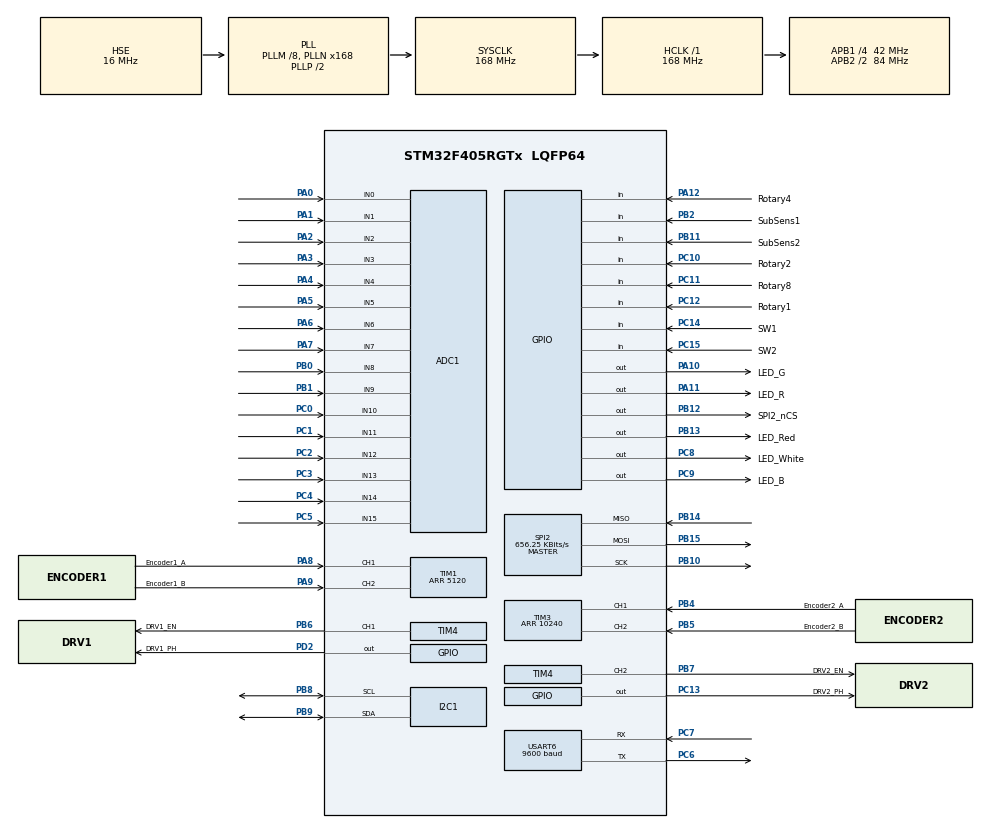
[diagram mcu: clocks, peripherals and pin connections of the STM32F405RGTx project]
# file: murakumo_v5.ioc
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ADC1.Channel-0\#ChannelRegularConversion=ADC_CHANNEL_9
ADC1.Channel-1\#ChannelRegularConversion=ADC_CHANNEL_10
ADC1.Channel-10\#ChannelRegularConversion=ADC_CHANNEL_6
ADC1.Channel-11\#ChannelRegularConversion=ADC_CHANNEL_1
ADC1.Channel-12\#ChannelRegularConversion=ADC_CHANNEL_5
ADC1.Channel-13\#ChannelRegularConversion=ADC_CHANNEL_2
ADC1.Channel-14\#ChannelRegularConversion=ADC_CHANNEL_4
ADC1.Channel-15\#ChannelRegularConversion=ADC_CHANNEL_3
ADC1.Channel-2\#ChannelRegularConversion=ADC_CHANNEL_8
ADC1.Channel-3\#ChannelRegularConversion=ADC_CHANNEL_11
ADC1.Channel-4\#ChannelRegularConversion=ADC_CHANNEL_15
ADC1.Channel-5\#ChannelRegularConversion=ADC_CHANNEL_12
ADC1.Channel-6\#ChannelRegularConversion=ADC_CHANNEL_14
ADC1.Channel-7\#ChannelRegularConversion=ADC_CHANNEL_13
ADC1.Channel-8\#ChannelRegularConversion=ADC_CHANNEL_7
ADC1.Channel-9\#ChannelRegularConversion=ADC_CHANNEL_0
ADC1.ContinuousConvMode=ENABLE
ADC1.DMAContinuousRequests=ENABLE
ADC1.InjNumberOfConversion=0
ADC1.NbrOfConversion=16
ADC1.NbrOfConversionFlag=1
ADC1.Rank-0\#ChannelRegularConversion=1
ADC1.Rank-1\#ChannelRegularConversion=2
ADC1.Rank-10\#ChannelRegularConversion=11
ADC1.Rank-11\#ChannelRegularConversion=12
ADC1.Rank-12\#ChannelRegularConversion=13
ADC1.Rank-13\#ChannelRegularConversion=14
ADC1.Rank-14\#ChannelRegularConversion=15
ADC1.Rank-15\#ChannelRegularConversion=16
ADC1.Rank-2\#ChannelRegularConversion=3
ADC1.Rank-3\#ChannelRegularConversion=4
ADC1.Rank-4\#ChannelRegularConversion=5
ADC1.Rank-5\#ChannelRegularConversion=6
ADC1.Rank-6\#ChannelRegularConversion=7
ADC1.Rank-7\#ChannelRegularConversion=8
ADC1.Rank-8\#ChannelRegularConversion=9
ADC1.Rank-9\#ChannelRegularConversion=10
ADC1.SamplingTime-0\#ChannelRegularConversion=ADC_SAMPLETIME_56CYCLES
ADC1.SamplingTime-1\#ChannelRegularConversion=ADC_SAMPLETIME_56CYCLES
ADC1.SamplingTime-10\#ChannelRegularConversion=ADC_SAMPLETIME_56CYCLES
ADC1.SamplingTime-11\#ChannelRegularConversion=ADC_SAMPLETIME_56CYCLES
ADC1.SamplingTime-12\#ChannelRegularConversion=ADC_SAMPLETIME_56CYCLES
ADC1.SamplingTime-13\#ChannelRegularConversion=ADC_SAMPLETIME_56CYCLES
ADC1.SamplingTime-14\#ChannelRegularConversion=ADC_SAMPLETIME_56CYCLES
ADC1.SamplingTime-15\#ChannelRegularConversion=ADC_SAMPLETIME_56CYCLES
ADC1.SamplingTime-2\#ChannelRegularConversion=ADC_SAMPLETIME_56CYCLES
ADC1.SamplingTime-3\#ChannelRegularConversion=ADC_SAMPLETIME_56CYCLES
ADC1.SamplingTime-4\#ChannelRegularConversion=ADC_SAMPLETIME_56CYCLES
ADC1.SamplingTime-5\#ChannelRegularConversion=ADC_SAMPLETIME_56CYCLES
ADC1.SamplingTime-6\#ChannelRegularConversion=ADC_SAMPLETIME_56CYCLES
ADC1.SamplingTime-7\#ChannelRegularConversion=ADC_SAMPLETIME_56CYCLES
ADC1.SamplingTime-8\#ChannelRegularConversion=ADC_SAMPLETIME_56CYCLES
ADC1.SamplingTime-9\#ChannelRegularConversion=ADC_SAMPLETIME_56CYCLES
ADC1.ScanConvMode=ENABLE
ADC1.master=1
Dma.ADC1.0.Direction=DMA_PERIPH_TO_MEMORY
Dma.ADC1.0.FIFOMode=DMA_FIFOMODE_DISABLE
Dma.ADC1.0.Instance=DMA2_Stream0
Dma.ADC1.0.MemDataAlignment=DMA_MDATAALIGN_HALFWORD
Dma.ADC1.0.MemInc=DMA_MINC_ENABLE
Dma.ADC1.0.Mode=DMA_CIRCULAR
Dma.ADC1.0.PeriphDataAlignment=DMA_PDATAALIGN_HALFWORD
Dma.ADC1.0.PeriphInc=DMA_PINC_DISABLE
Dma.ADC1.0.Priority=DMA_PRIORITY_LOW
Dma.Request0=ADC1
I2C1.NoStretchMode=I2C_NOSTRETCH_ENABLE
Mcu.Family=STM32F4
Mcu.Name=STM32F405RGTx
Mcu.Package=LQFP64
NVIC.DMA2_Stream0_IRQn=true\:0\:0\:true\:false\:true\:false\:true\:true
NVIC.PriorityGroup=NVIC_PRIORITYGROUP_4
NVIC.TIM1_TRG_COM_TIM11_IRQn=true\:1\:0\:true\:false\:true\:true\:true\:true
NVIC.TIM1_UP_TIM10_IRQn=true\:1\:0\:true\:false\:true\:true\:true\:true
NVIC.TIM3_IRQn=true\:1\:0\:true\:false\:true\:true\:true\:true
NVIC.TIM4_IRQn=true\:1\:0\:true\:false\:true\:true\:true\:true
NVIC.TIM6_DAC_IRQn=true\:1\:0\:true\:false\:true\:true\:true\:true
NVIC.TIM7_IRQn=true\:1\:0\:true\:false\:true\:true\:true\:true
PA0-WKUP.Signal=ADCx_IN0
PA1.Signal=ADCx_IN1
PA10.GPIO_Label=LED_G
PA10.Signal=GPIO_Output
PA11.GPIO_Label=LED_R
PA11.Signal=GPIO_Output
PA12.GPIO_Label=Rotary4
PA12.Signal=GPIO_Input
PA13.Mode=Trace_Asynchronous_SW
PA13.Signal=SYS_JTMS-SWDIO
PA14.Mode=Trace_Asynchronous_SW
PA14.Signal=SYS_JTCK-SWCLK
PA15.Signal=S_TIM2_CH1_ETR
PA2.Signal=ADCx_IN2
PA3.Signal=ADCx_IN3
PA4.Signal=ADCx_IN4
PA5.Signal=ADCx_IN5
PA6.Signal=ADCx_IN6
PA7.Signal=ADCx_IN7
PA8.GPIO_Label=Encoder1_A
PA8.Signal=S_TIM1_CH1
PA9.GPIO_Label=Encoder1_B
PA9.Signal=S_TIM1_CH2
PB0.Signal=ADCx_IN8
PB1.Signal=ADCx_IN9
PB10.Mode=Full_Duplex_Master
PB10.Signal=SPI2_SCK
PB11.GPIO_Label=SubSens2
PB11.Signal=GPIO_Input
PB12.GPIO_Label=SPI2_nCS
PB12.Signal=GPIO_Output
PB13.GPIO_Label=LED_Red
PB13.Signal=GPIO_Output
PB14.Mode=Full_Duplex_Master
PB14.Signal=SPI2_MISO
PB15.Mode=Full_Duplex_Master
PB15.Signal=SPI2_MOSI
PB2.GPIO_Label=SubSens1
PB2.Signal=GPIO_Input
PB3.Mode=Trace_Asynchronous_SW
PB3.Signal=SYS_JTDO-SWO
PB4.GPIO_Label=Encoder2_A
PB4.Signal=S_TIM3_CH1
PB5.GPIO_Label=Encoder2_B
PB5.Signal=S_TIM3_CH2
PB6.GPIO_Label=DRV1_EN
PB6.Signal=S_TIM4_CH1
PB7.GPIO_Label=DRV2_EN
PB7.Signal=S_TIM4_CH2
PB8.GPIO_Pu=GPIO_PULLUP
PB8.Mode=I2C
PB8.Signal=I2C1_SCL
PB9.GPIO_Pu=GPIO_PULLUP
PB9.Mode=I2C
PB9.Signal=I2C1_SDA
PC0.Signal=ADCx_IN10
PC1.Signal=ADCx_IN11
PC10.GPIO_Label=Rotary2
PC10.Signal=GPIO_Input
PC11.GPIO_Label=Rotary8
PC11.Signal=GPIO_Input
PC12.GPIO_Label=Rotary1
PC12.Signal=GPIO_Input
PC13-ANTI_TAMP.GPIO_Label=DRV2_PH
PC13-ANTI_TAMP.Signal=GPIO_Output
PC14-OSC32_IN.GPIO_Label=SW1
PC14-OSC32_IN.Signal=GPIO_Input
PC15-OSC32_OUT.GPIO_Label=SW2
PC15-OSC32_OUT.Signal=GPIO_Input
PC2.Signal=ADCx_IN12
PC3.Signal=ADCx_IN13
PC4.Signal=ADCx_IN14
PC5.Signal=ADCx_IN15
PC6.Mode=Asynchronous
PC6.Signal=USART6_TX
PC7.Mode=Asynchronous
PC7.Signal=USART6_RX
PC8.GPIO_Label=LED_White
PC8.Signal=GPIO_Output
PC9.GPIO_Label=LED_B
PC9.Signal=GPIO_Output
PD2.GPIO_Label=DRV1_PH
PD2.Signal=GPIO_Output
PH0-OSC_IN.Mode=HSE-External-Clock-Source
PH0-OSC_IN.Signal=RCC_OSC_IN
PH1-OSC_OUT.Mode=HSE-External-Clock-Source
PH1-OSC_OUT.Signal=RCC_OSC_OUT
ProjectManager.HeapSize=0x200
ProjectManager.StackSize=0x400
ProjectManager.TargetToolchain=STM32CubeIDE
RCC.48MHZClocksFreq_Value=84000000
RCC.AHBFreq_Value=168000000
RCC.APB1CLKDivider=RCC_HCLK_DIV4
RCC.APB1Freq_Value=42000000
RCC.APB1TimFreq_Value=84000000
RCC.APB2CLKDivider=RCC_HCLK_DIV2
RCC.APB2Freq_Value=84000000
RCC.APB2TimFreq_Value=168000000
RCC.CortexFreq_Value=168000000
RCC.HCLKFreq_Value=168000000
RCC.HSE_VALUE=16000000
RCC.HSI_VALUE=16000000
RCC.LSE_VALUE=32768
RCC.PLLM=8
RCC.PLLN=168
RCC.PLLSourceVirtual=RCC_PLLSOURCE_HSE
RCC.SYSCLKFreq_VALUE=168000000
RCC.SYSCLKSource=RCC_SYSCLKSOURCE_PLLCLK
RCC.VCOOutputFreq_Value=336000000
SH.ADCx_IN0.0=ADC1_IN0,IN0
SH.ADCx_IN1.0=ADC1_IN1,IN1
SH.ADCx_IN10.0=ADC1_IN10,IN10
SH.ADCx_IN11.0=ADC1_IN11,IN11
SH.ADCx_IN12.0=ADC1_IN12,IN12
SH.ADCx_IN13.0=ADC1_IN13,IN13
SH.ADCx_IN14.0=ADC1_IN14,IN14
SH.ADCx_IN15.0=ADC1_IN15,IN15
SH.ADCx_IN2.0=ADC1_IN2,IN2
SH.ADCx_IN3.0=ADC1_IN3,IN3
SH.ADCx_IN4.0=ADC1_IN4,IN4
SH.ADCx_IN5.0=ADC1_IN5,IN5
SH.ADCx_IN6.0=ADC1_IN6,IN6
SH.ADCx_IN7.0=ADC1_IN7,IN7
SH.ADCx_IN8.0=ADC1_IN8,IN8
SH.ADCx_IN9.0=ADC1_IN9,IN9
SH.S_TIM1_CH1.0=TIM1_CH1,Encoder_Interface
SH.S_TIM1_CH2.0=TIM1_CH2,Encoder_Interface
SH.S_TIM2_CH1_ETR.0=TIM2_CH1
SH.S_TIM3_CH1.0=TIM3_CH1,Encoder_Interface
SH.S_TIM3_CH2.0=TIM3_CH2,Encoder_Interface
SH.S_TIM4_CH1.0=TIM4_CH1,PWM Generation1 CH1
SH.S_TIM4_CH2.0=TIM4_CH2,PWM Generation2 CH2
SPI2.BaudRatePrescaler=SPI_BAUDRATEPRESCALER_64
SPI2.CLKPhase=SPI_PHASE_2EDGE
SPI2.CLKPolarity=SPI_POLARITY_HIGH
SPI2.CalculateBaudRate=656.25 KBits/s
SPI2.DataSize=SPI_DATASIZE_8BIT
SPI2.Direction=SPI_DIRECTION_2LINES
SPI2.Mode=SPI_MODE_MASTER
SPI2.VirtualType=VM_MASTER
TIM1.EncoderMode=TIM_ENCODERMODE_TI12
TIM1.Period=5120
TIM10.Period=33599
TIM10.Prescaler=4
TIM11.Period=33599
TIM11.Prescaler=4
TIM14.Period=33599
TIM14.Prescaler=4
TIM3.EncoderMode=TIM_ENCODERMODE_TI12
TIM3.Period=10240
TIM4.Channel-PWM\ Generation1\ CH1=TIM_CHANNEL_1
TIM4.Channel-PWM\ Generation2\ CH2=TIM_CHANNEL_2
TIM4.Period=999
TIM4.Prescaler=2
TIM6.Period=33599
TIM6.Prescaler=4
TIM7.Period=33599
TIM7.Prescaler=4
USART6.BaudRate=9600
USART6.VirtualMode=VM_ASYNC
VP_TIM10_VS_ClockSourceINT.Mode=Enable_Timer
VP_TIM11_VS_ClockSourceINT.Mode=Enable_Timer
VP_TIM14_VS_ClockSourceINT.Mode=Enable_Timer
VP_TIM6_VS_ClockSourceINT.Mode=Enable_Timer
VP_TIM7_VS_ClockSourceINT.Mode=Enable_Timer
board=custom

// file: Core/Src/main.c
/* USER CODE BEGIN Header */
/**
 ******************************************************************************
 * @file           : main.c
 * @brief          : Main program body
 ******************************************************************************
 * @attention
 *
 * <h2><center>&copy; Copyright (c) 2022 STMicroelectronics.
 * All rights reserved.</center></h2>
 *
 * This software component is licensed by ST under BSD 3-Clause license,
 * the "License"; You may not use this file except in compliance with the
 * License. You may obtain a copy of the License at:
 *                        opensource.org/licenses/BSD-3-Clause
 *
 *
 * 8b    d8 88   88 88""Yb    db    88  dP 88   88 8b    d8  dP"Yb             Yb    dP 888888 *
 * 88b  d88 88   88 88__dP   dPYb   88odP  88   88 88b  d88 dP   Yb             Yb  dP  88oo." *
 * 88YbdP88 Y8   8P 88"Yb   dP__Yb  88"Yb  Y8   8P 88YbdP88 Yb   dP              YbdP      `8b *
 * 88 YY 88 `YbodP' 88  Yb dP""""Yb 88  Yb `YbodP' 88 YY 88  YbodP  oooooooooo    YP    8888P' *
 *
 ********************************************dsd**********************************
 */
/* USER CODE END Header */
#include "main.h"

/* USER CODE BEGIN PM */
#ifndef __DEFINES_H__
/* USER CODE END PM */

ADC_HandleTypeDef hadc1;
DMA_HandleTypeDef hdma_adc1;

I2C_HandleTypeDef hi2c1;

SPI_HandleTypeDef hspi2;

TIM_HandleTypeDef htim1;
TIM_HandleTypeDef htim3;
TIM_HandleTypeDef htim4;
TIM_HandleTypeDef htim6;
TIM_HandleTypeDef htim7;
TIM_HandleTypeDef htim10;
TIM_HandleTypeDef htim11;
TIM_HandleTypeDef htim14;

UART_HandleTypeDef huart6;

/* USER CODE BEGIN PV */
#endif	/* __DEFINES_H__ */
/* USER CODE END PV */

void SystemClock_Config(void);
static void MX_GPIO_Init(void);
static void MX_DMA_Init(void);
static void MX_ADC1_Init(void);
static void MX_USART6_UART_Init(void);
static void MX_TIM6_Init(void);
static void MX_TIM4_Init(void);
static void MX_TIM1_Init(void);
static void MX_TIM3_Init(void);
static void MX_TIM10_Init(void);
static void MX_TIM11_Init(void);
static void MX_SPI2_Init(void);
static void MX_I2C1_Init(void);
static void MX_TIM14_Init(void);
static void MX_TIM7_Init(void);
/* USER CODE BEGIN PFP */

void HAL_TIM_PeriodElapsedCallback(TIM_HandleTypeDef *htim)
{
	if(htim->Instance == TIM6)
	{
	}

	if(htim->Instance == TIM10)
	{
	}

	if(htim->Instance == TIM10)	// TIM10 // 1ms
	{
		tim10_main();
	}

	if (htim->Instance == TIM11)	// TIM11 // 1ms
	{
		tim11_main();
	}
}

/* USER CODE END PFP */

int main(void)
{

  /* MCU Configuration--------------------------------------------------------*/

  /* Reset of all peripherals, Initializes the Flash interface and the Systick. */
  HAL_Init();

  /* Configure the system clock */
  SystemClock_Config();

  /* Initialize all configured peripherals */
  MX_GPIO_Init();
  MX_DMA_Init();
  MX_ADC1_Init();
  MX_USART6_UART_Init();
  MX_TIM6_Init();
  MX_TIM4_Init();
  MX_TIM1_Init();
  MX_TIM3_Init();
  MX_TIM10_Init();
  MX_TIM11_Init();
  MX_SPI2_Init();
  MX_I2C1_Init();
  MX_TIM14_Init();
  MX_TIM7_Init();
  /* USER CODE BEGIN 2 */
	printf(ESC_DEF);

	printf("\r\n\r\n\r\nStarting Program...\r\n\r\n");
	printf("murakumo_odom version.%4.2lf\r\n", __MURAKUMO__);

  main_init();

  /* USER CODE END 2 */

  /* Infinite loop */
  /* USER CODE BEGIN WHILE */
	while (1)
	{
    main_print_while();

		if(switch_read_enter())
		{
      running_start();
      while(switch_read_enter())
      {
        main_main();
      }
      running_stop();
		}	// if(switch_read_enter())
    HAL_Delay(500);
	}	// while(1)
    /* USER CODE END WHILE */

}

void SystemClock_Config(void)
{
  RCC_OscInitTypeDef RCC_OscInitStruct = {0};
  RCC_ClkInitTypeDef RCC_ClkInitStruct = {0};

  /** Configure the main internal regulator output voltage
  */
  __HAL_RCC_PWR_CLK_ENABLE();
  __HAL_PWR_VOLTAGESCALING_CONFIG(PWR_REGULATOR_VOLTAGE_SCALE1);

  /** Initializes the RCC Oscillators according to the specified parameters
  * in the RCC_OscInitTypeDef structure.
  */
  RCC_OscInitStruct.OscillatorType = RCC_OSCILLATORTYPE_HSE;
  RCC_OscInitStruct.HSEState = RCC_HSE_BYPASS;
  RCC_OscInitStruct.PLL.PLLState = RCC_PLL_ON;
  RCC_OscInitStruct.PLL.PLLSource = RCC_PLLSOURCE_HSE;
  RCC_OscInitStruct.PLL.PLLM = 8;
  RCC_OscInitStruct.PLL.PLLN = 168;
  RCC_OscInitStruct.PLL.PLLP = RCC_PLLP_DIV2;
  RCC_OscInitStruct.PLL.PLLQ = 4;
  if (HAL_RCC_OscConfig(&RCC_OscInitStruct) != HAL_OK)
  {
    Error_Handler();
  }

  /** Initializes the CPU, AHB and APB buses clocks
  */
  RCC_ClkInitStruct.ClockType = RCC_CLOCKTYPE_HCLK|RCC_CLOCKTYPE_SYSCLK
                              |RCC_CLOCKTYPE_PCLK1|RCC_CLOCKTYPE_PCLK2;
  RCC_ClkInitStruct.SYSCLKSource = RCC_SYSCLKSOURCE_PLLCLK;
  RCC_ClkInitStruct.AHBCLKDivider = RCC_SYSCLK_DIV1;
  RCC_ClkInitStruct.APB1CLKDivider = RCC_HCLK_DIV4;
  RCC_ClkInitStruct.APB2CLKDivider = RCC_HCLK_DIV2;

  if (HAL_RCC_ClockConfig(&RCC_ClkInitStruct, FLASH_LATENCY_5) != HAL_OK)
  {
    Error_Handler();
  }
}

static void MX_ADC1_Init(void)
{

  ADC_ChannelConfTypeDef sConfig = {0};

  /** Configure the global features of the ADC (Clock, Resolution, Data Alignment and number of conversion)
  */
  hadc1.Instance = ADC1;
  hadc1.Init.ClockPrescaler = ADC_CLOCK_SYNC_PCLK_DIV4;
  hadc1.Init.Resolution = ADC_RESOLUTION_12B;
  hadc1.Init.ScanConvMode = ENABLE;
  hadc1.Init.ContinuousConvMode = ENABLE;
  hadc1.Init.DiscontinuousConvMode = DISABLE;
  hadc1.Init.ExternalTrigConvEdge = ADC_EXTERNALTRIGCONVEDGE_NONE;
  hadc1.Init.ExternalTrigConv = ADC_SOFTWARE_START;
  hadc1.Init.DataAlign = ADC_DATAALIGN_RIGHT;
  hadc1.Init.NbrOfConversion = 16;
  hadc1.Init.DMAContinuousRequests = ENABLE;
  hadc1.Init.EOCSelection = ADC_EOC_SINGLE_CONV;
  if (HAL_ADC_Init(&hadc1) != HAL_OK)
  {
    Error_Handler();
  }

  /** Configure for the selected ADC regular channel its corresponding rank in the sequencer and its sample time.
  */
  sConfig.Channel = ADC_CHANNEL_9;
  sConfig.Rank = 1;
  sConfig.SamplingTime = ADC_SAMPLETIME_56CYCLES;
  if (HAL_ADC_ConfigChannel(&hadc1, &sConfig) != HAL_OK)
  {
    Error_Handler();
  }

  /** Configure for the selected ADC regular channel its corresponding rank in the sequencer and its sample time.
  */
  sConfig.Channel = ADC_CHANNEL_10;
  sConfig.Rank = 2;
  if (HAL_ADC_ConfigChannel(&hadc1, &sConfig) != HAL_OK)
  {
    Error_Handler();
  }

  /** Configure for the selected ADC regular channel its corresponding rank in the sequencer and its sample time.
  */
  sConfig.Channel = ADC_CHANNEL_8;
  sConfig.Rank = 3;
  if (HAL_ADC_ConfigChannel(&hadc1, &sConfig) != HAL_OK)
  {
    Error_Handler();
  }

  /** Configure for the selected ADC regular channel its corresponding rank in the sequencer and its sample time.
  */
  sConfig.Channel = ADC_CHANNEL_11;
  sConfig.Rank = 4;
  if (HAL_ADC_ConfigChannel(&hadc1, &sConfig) != HAL_OK)
  {
    Error_Handler();
  }

  /** Configure for the selected ADC regular channel its corresponding rank in the sequencer and its sample time.
  */
  sConfig.Channel = ADC_CHANNEL_15;
  sConfig.Rank = 5;
  if (HAL_ADC_ConfigChannel(&hadc1, &sConfig) != HAL_OK)
  {
    Error_Handler();
  }

  /** Configure for the selected ADC regular channel its corresponding rank in the sequencer and its sample time.
  */
  sConfig.Channel = ADC_CHANNEL_12;
  sConfig.Rank = 6;
  if (HAL_ADC_ConfigChannel(&hadc1, &sConfig) != HAL_OK)
  {
    Error_Handler();
  }

  /** Configure for the selected ADC regular channel its corresponding rank in the sequencer and its sample time.
  */
  sConfig.Channel = ADC_CHANNEL_14;
  sConfig.Rank = 7;
  if (HAL_ADC_ConfigChannel(&hadc1, &sConfig) != HAL_OK)
  {
    Error_Handler();
  }

  /** Configure for the selected ADC regular channel its corresponding rank in the sequencer and its sample time.
  */
  sConfig.Channel = ADC_CHANNEL_13;
  sConfig.Rank = 8;
  if (HAL_ADC_ConfigChannel(&hadc1, &sConfig) != HAL_OK)
  {
    Error_Handler();
  }

  /** Configure for the selected ADC regular channel its corresponding rank in the sequencer and its sample time.
  */
  sConfig.Channel = ADC_CHANNEL_7;
  sConfig.Rank = 9;
  if (HAL_ADC_ConfigChannel(&hadc1, &sConfig) != HAL_OK)
  {
    Error_Handler();
  }

  /** Configure for the selected ADC regular channel its corresponding rank in the sequencer and its sample time.
  */
  sConfig.Channel = ADC_CHANNEL_0;
  sConfig.Rank = 10;
  if (HAL_ADC_ConfigChannel(&hadc1, &sConfig) != HAL_OK)
  {
    Error_Handler();
  }

  /** Configure for the selected ADC regular channel its corresponding rank in the sequencer and its sample time.
  */
  sConfig.Channel = ADC_CHANNEL_6;
  sConfig.Rank = 11;
  if (HAL_ADC_ConfigChannel(&hadc1, &sConfig) != HAL_OK)
  {
    Error_Handler();
  }

  /** Configure for the selected ADC regular channel its corresponding rank in the sequencer and its sample time.
  */
  sConfig.Channel = ADC_CHANNEL_1;
  sConfig.Rank = 12;
  if (HAL_ADC_ConfigChannel(&hadc1, &sConfig) != HAL_OK)
  {
    Error_Handler();
  }

  /** Configure for the selected ADC regular channel its corresponding rank in the sequencer and its sample time.
  */
  sConfig.Channel = ADC_CHANNEL_5;
  sConfig.Rank = 13;
  if (HAL_ADC_ConfigChannel(&hadc1, &sConfig) != HAL_OK)
  {
    Error_Handler();
  }

  /** Configure for the selected ADC regular channel its corresponding rank in the sequencer and its sample time.
  */
  sConfig.Channel = ADC_CHANNEL_2;
  sConfig.Rank = 14;
  if (HAL_ADC_ConfigChannel(&hadc1, &sConfig) != HAL_OK)
  {
    Error_Handler();
  }

  /** Configure for the selected ADC regular channel its corresponding rank in the sequencer and its sample time.
  */
  sConfig.Channel = ADC_CHANNEL_4;
  sConfig.Rank = 15;
  if (HAL_ADC_ConfigChannel(&hadc1, &sConfig) != HAL_OK)
  {
    Error_Handler();
  }

  /** Configure for the selected ADC regular channel its corresponding rank in the sequencer and its sample time.
  */
  sConfig.Channel = ADC_CHANNEL_3;
  sConfig.Rank = 16;
  if (HAL_ADC_ConfigChannel(&hadc1, &sConfig) != HAL_OK)
  {
    Error_Handler();
  }

}

static void MX_I2C1_Init(void)
{

  hi2c1.Instance = I2C1;
  hi2c1.Init.ClockSpeed = 100000;
  hi2c1.Init.DutyCycle = I2C_DUTYCYCLE_2;
  hi2c1.Init.OwnAddress1 = 0;
  hi2c1.Init.AddressingMode = I2C_ADDRESSINGMODE_7BIT;
  hi2c1.Init.DualAddressMode = I2C_DUALADDRESS_DISABLE;
  hi2c1.Init.OwnAddress2 = 0;
  hi2c1.Init.GeneralCallMode = I2C_GENERALCALL_DISABLE;
  hi2c1.Init.NoStretchMode = I2C_NOSTRETCH_ENABLE;
  if (HAL_I2C_Init(&hi2c1) != HAL_OK)
  {
    Error_Handler();
  }

}

static void MX_SPI2_Init(void)
{

  /* SPI2 parameter configuration*/
  hspi2.Instance = SPI2;
  hspi2.Init.Mode = SPI_MODE_MASTER;
  hspi2.Init.Direction = SPI_DIRECTION_2LINES;
  hspi2.Init.DataSize = SPI_DATASIZE_8BIT;
  hspi2.Init.CLKPolarity = SPI_POLARITY_HIGH;
  hspi2.Init.CLKPhase = SPI_PHASE_2EDGE;
  hspi2.Init.NSS = SPI_NSS_SOFT;
  hspi2.Init.BaudRatePrescaler = SPI_BAUDRATEPRESCALER_64;
  hspi2.Init.FirstBit = SPI_FIRSTBIT_MSB;
  hspi2.Init.TIMode = SPI_TIMODE_DISABLE;
  hspi2.Init.CRCCalculation = SPI_CRCCALCULATION_DISABLE;
  hspi2.Init.CRCPolynomial = 10;
  if (HAL_SPI_Init(&hspi2) != HAL_OK)
  {
    Error_Handler();
  }

}

static void MX_TIM1_Init(void)
{

  TIM_Encoder_InitTypeDef sConfig = {0};
  TIM_MasterConfigTypeDef sMasterConfig = {0};

  htim1.Instance = TIM1;
  htim1.Init.Prescaler = 0;
  htim1.Init.CounterMode = TIM_COUNTERMODE_UP;
  htim1.Init.Period = 5120;
  htim1.Init.ClockDivision = TIM_CLOCKDIVISION_DIV1;
  htim1.Init.RepetitionCounter = 0;
  htim1.Init.AutoReloadPreload = TIM_AUTORELOAD_PRELOAD_DISABLE;
  sConfig.EncoderMode = TIM_ENCODERMODE_TI12;
  sConfig.IC1Polarity = TIM_ICPOLARITY_RISING;
  sConfig.IC1Selection = TIM_ICSELECTION_DIRECTTI;
  sConfig.IC1Prescaler = TIM_ICPSC_DIV1;
  sConfig.IC1Filter = 0;
  sConfig.IC2Polarity = TIM_ICPOLARITY_RISING;
  sConfig.IC2Selection = TIM_ICSELECTION_DIRECTTI;
  sConfig.IC2Prescaler = TIM_ICPSC_DIV1;
  sConfig.IC2Filter = 0;
  if (HAL_TIM_Encoder_Init(&htim1, &sConfig) != HAL_OK)
  {
    Error_Handler();
  }
  sMasterConfig.MasterOutputTrigger = TIM_TRGO_RESET;
  sMasterConfig.MasterSlaveMode = TIM_MASTERSLAVEMODE_DISABLE;
  if (HAL_TIMEx_MasterConfigSynchronization(&htim1, &sMasterConfig) != HAL_OK)
  {
    Error_Handler();
  }

}

static void MX_TIM3_Init(void)
{

  TIM_Encoder_InitTypeDef sConfig = {0};
  TIM_MasterConfigTypeDef sMasterConfig = {0};

  htim3.Instance = TIM3;
  htim3.Init.Prescaler = 0;
  htim3.Init.CounterMode = TIM_COUNTERMODE_UP;
  htim3.Init.Period = 10240;
  htim3.Init.ClockDivision = TIM_CLOCKDIVISION_DIV1;
  htim3.Init.AutoReloadPreload = TIM_AUTORELOAD_PRELOAD_DISABLE;
  sConfig.EncoderMode = TIM_ENCODERMODE_TI12;
  sConfig.IC1Polarity = TIM_ICPOLARITY_RISING;
  sConfig.IC1Selection = TIM_ICSELECTION_DIRECTTI;
  sConfig.IC1Prescaler = TIM_ICPSC_DIV1;
  sConfig.IC1Filter = 0;
  sConfig.IC2Polarity = TIM_ICPOLARITY_RISING;
  sConfig.IC2Selection = TIM_ICSELECTION_DIRECTTI;
  sConfig.IC2Prescaler = TIM_ICPSC_DIV1;
  sConfig.IC2Filter = 0;
  if (HAL_TIM_Encoder_Init(&htim3, &sConfig) != HAL_OK)
  {
    Error_Handler();
  }
  sMasterConfig.MasterOutputTrigger = TIM_TRGO_RESET;
  sMasterConfig.MasterSlaveMode = TIM_MASTERSLAVEMODE_DISABLE;
  if (HAL_TIMEx_MasterConfigSynchronization(&htim3, &sMasterConfig) != HAL_OK)
  {
    Error_Handler();
  }

}

static void MX_TIM4_Init(void)
{

  TIM_MasterConfigTypeDef sMasterConfig = {0};
  TIM_OC_InitTypeDef sConfigOC = {0};

  htim4.Instance = TIM4;
  htim4.Init.Prescaler = 2;
  htim4.Init.CounterMode = TIM_COUNTERMODE_UP;
  htim4.Init.Period = 999;
  htim4.Init.ClockDivision = TIM_CLOCKDIVISION_DIV1;
  htim4.Init.AutoReloadPreload = TIM_AUTORELOAD_PRELOAD_DISABLE;
  if (HAL_TIM_PWM_Init(&htim4) != HAL_OK)
  {
    Error_Handler();
  }
  sMasterConfig.MasterOutputTrigger = TIM_TRGO_RESET;
  sMasterConfig.MasterSlaveMode = TIM_MASTERSLAVEMODE_DISABLE;
  if (HAL_TIMEx_MasterConfigSynchronization(&htim4, &sMasterConfig) != HAL_OK)
  {
    Error_Handler();
  }
  sConfigOC.OCMode = TIM_OCMODE_PWM1;
  sConfigOC.Pulse = 0;
  sConfigOC.OCPolarity = TIM_OCPOLARITY_HIGH;
  sConfigOC.OCFastMode = TIM_OCFAST_DISABLE;
  if (HAL_TIM_PWM_ConfigChannel(&htim4, &sConfigOC, TIM_CHANNEL_1) != HAL_OK)
  {
    Error_Handler();
  }
  if (HAL_TIM_PWM_ConfigChannel(&htim4, &sConfigOC, TIM_CHANNEL_2) != HAL_OK)
  {
    Error_Handler();
  }
  HAL_TIM_MspPostInit(&htim4);

}

static void MX_TIM6_Init(void)
{

  TIM_MasterConfigTypeDef sMasterConfig = {0};

  htim6.Instance = TIM6;
  htim6.Init.Prescaler = 4;
  htim6.Init.CounterMode = TIM_COUNTERMODE_UP;
  htim6.Init.Period = 33599;
  htim6.Init.AutoReloadPreload = TIM_AUTORELOAD_PRELOAD_DISABLE;
  if (HAL_TIM_Base_Init(&htim6) != HAL_OK)
  {
    Error_Handler();
  }
  sMasterConfig.MasterOutputTrigger = TIM_TRGO_RESET;
  sMasterConfig.MasterSlaveMode = TIM_MASTERSLAVEMODE_DISABLE;
  if (HAL_TIMEx_MasterConfigSynchronization(&htim6, &sMasterConfig) != HAL_OK)
  {
    Error_Handler();
  }

}

static void MX_TIM7_Init(void)
{

  TIM_MasterConfigTypeDef sMasterConfig = {0};

  htim7.Instance = TIM7;
  htim7.Init.Prescaler = 4;
  htim7.Init.CounterMode = TIM_COUNTERMODE_UP;
  htim7.Init.Period = 33599;
  htim7.Init.AutoReloadPreload = TIM_AUTORELOAD_PRELOAD_DISABLE;
  if (HAL_TIM_Base_Init(&htim7) != HAL_OK)
  {
    Error_Handler();
  }
  sMasterConfig.MasterOutputTrigger = TIM_TRGO_RESET;
  sMasterConfig.MasterSlaveMode = TIM_MASTERSLAVEMODE_DISABLE;
  if (HAL_TIMEx_MasterConfigSynchronization(&htim7, &sMasterConfig) != HAL_OK)
  {
    Error_Handler();
  }

}

static void MX_TIM10_Init(void)
{

  htim10.Instance = TIM10;
  htim10.Init.Prescaler = 4;
  htim10.Init.CounterMode = TIM_COUNTERMODE_UP;
  htim10.Init.Period = 33599;
  htim10.Init.ClockDivision = TIM_CLOCKDIVISION_DIV1;
  htim10.Init.AutoReloadPreload = TIM_AUTORELOAD_PRELOAD_DISABLE;
  if (HAL_TIM_Base_Init(&htim10) != HAL_OK)
  {
    Error_Handler();
  }

}

static void MX_TIM11_Init(void)
{

  htim11.Instance = TIM11;
  htim11.Init.Prescaler = 4;
  htim11.Init.CounterMode = TIM_COUNTERMODE_UP;
  htim11.Init.Period = 33599;
  htim11.Init.ClockDivision = TIM_CLOCKDIVISION_DIV1;
  htim11.Init.AutoReloadPreload = TIM_AUTORELOAD_PRELOAD_DISABLE;
  if (HAL_TIM_Base_Init(&htim11) != HAL_OK)
  {
    Error_Handler();
  }

}

static void MX_TIM14_Init(void)
{

  htim14.Instance = TIM14;
  htim14.Init.Prescaler = 4;
  htim14.Init.CounterMode = TIM_COUNTERMODE_UP;
  htim14.Init.Period = 33599;
  htim14.Init.ClockDivision = TIM_CLOCKDIVISION_DIV1;
  htim14.Init.AutoReloadPreload = TIM_AUTORELOAD_PRELOAD_DISABLE;
  if (HAL_TIM_Base_Init(&htim14) != HAL_OK)
  {
    Error_Handler();
  }

}

static void MX_USART6_UART_Init(void)
{

  huart6.Instance = USART6;
  huart6.Init.BaudRate = 9600;
  huart6.Init.WordLength = UART_WORDLENGTH_8B;
  huart6.Init.StopBits = UART_STOPBITS_1;
  huart6.Init.Parity = UART_PARITY_NONE;
  huart6.Init.Mode = UART_MODE_TX_RX;
  huart6.Init.HwFlowCtl = UART_HWCONTROL_NONE;
  huart6.Init.OverSampling = UART_OVERSAMPLING_16;
  if (HAL_UART_Init(&huart6) != HAL_OK)
  {
    Error_Handler();
  }

}

static void MX_DMA_Init(void)
{

  /* DMA controller clock enable */
  __HAL_RCC_DMA2_CLK_ENABLE();

  /* DMA interrupt init */
  /* DMA2_Stream0_IRQn interrupt configuration */
  HAL_NVIC_SetPriority(DMA2_Stream0_IRQn, 0, 0);
  HAL_NVIC_EnableIRQ(DMA2_Stream0_IRQn);

}

static void MX_GPIO_Init(void)
{
  GPIO_InitTypeDef GPIO_InitStruct = {0};

  /* GPIO Ports Clock Enable */
  __HAL_RCC_GPIOC_CLK_ENABLE();
  __HAL_RCC_GPIOH_CLK_ENABLE();
  __HAL_RCC_GPIOA_CLK_ENABLE();
  __HAL_RCC_GPIOB_CLK_ENABLE();
  __HAL_RCC_GPIOD_CLK_ENABLE();

  /*Configure GPIO pin Output Level */
  HAL_GPIO_WritePin(GPIOC, DRV2_PH_Pin|LED_White_Pin|LED_B_Pin, GPIO_PIN_RESET);

  /*Configure GPIO pin Output Level */
  HAL_GPIO_WritePin(GPIOB, SPI2_nCS_Pin|LED_Red_Pin, GPIO_PIN_RESET);

  /*Configure GPIO pin Output Level */
  HAL_GPIO_WritePin(GPIOA, LED_G_Pin|LED_R_Pin, GPIO_PIN_RESET);

  /*Configure GPIO pin Output Level */
  HAL_GPIO_WritePin(DRV1_PH_GPIO_Port, DRV1_PH_Pin, GPIO_PIN_RESET);

  /*Configure GPIO pins : DRV2_PH_Pin LED_White_Pin LED_B_Pin */
  GPIO_InitStruct.Pin = DRV2_PH_Pin|LED_White_Pin|LED_B_Pin;
  GPIO_InitStruct.Mode = GPIO_MODE_OUTPUT_PP;
  GPIO_InitStruct.Pull = GPIO_NOPULL;
  GPIO_InitStruct.Speed = GPIO_SPEED_FREQ_LOW;
  HAL_GPIO_Init(GPIOC, &GPIO_InitStruct);

  /*Configure GPIO pins : SW1_Pin SW2_Pin Rotary2_Pin Rotary8_Pin
                           Rotary1_Pin */
  GPIO_InitStruct.Pin = SW1_Pin|SW2_Pin|Rotary2_Pin|Rotary8_Pin
                          |Rotary1_Pin;
  GPIO_InitStruct.Mode = GPIO_MODE_INPUT;
  GPIO_InitStruct.Pull = GPIO_NOPULL;
  HAL_GPIO_Init(GPIOC, &GPIO_InitStruct);

  /*Configure GPIO pins : SubSens1_Pin SubSens2_Pin */
  GPIO_InitStruct.Pin = SubSens1_Pin|SubSens2_Pin;
  GPIO_InitStruct.Mode = GPIO_MODE_INPUT;
  GPIO_InitStruct.Pull = GPIO_NOPULL;
  HAL_GPIO_Init(GPIOB, &GPIO_InitStruct);

  /*Configure GPIO pins : SPI2_nCS_Pin LED_Red_Pin */
  GPIO_InitStruct.Pin = SPI2_nCS_Pin|LED_Red_Pin;
  GPIO_InitStruct.Mode = GPIO_MODE_OUTPUT_PP;
  GPIO_InitStruct.Pull = GPIO_NOPULL;
  GPIO_InitStruct.Speed = GPIO_SPEED_FREQ_LOW;
  HAL_GPIO_Init(GPIOB, &GPIO_InitStruct);

  /*Configure GPIO pins : LED_G_Pin LED_R_Pin */
  GPIO_InitStruct.Pin = LED_G_Pin|LED_R_Pin;
  GPIO_InitStruct.Mode = GPIO_MODE_OUTPUT_PP;
  GPIO_InitStruct.Pull = GPIO_NOPULL;
  GPIO_InitStruct.Speed = GPIO_SPEED_FREQ_LOW;
  HAL_GPIO_Init(GPIOA, &GPIO_InitStruct);

  /*Configure GPIO pin : Rotary4_Pin */
  GPIO_InitStruct.Pin = Rotary4_Pin;
  GPIO_InitStruct.Mode = GPIO_MODE_INPUT;
  GPIO_InitStruct.Pull = GPIO_NOPULL;
  HAL_GPIO_Init(Rotary4_GPIO_Port, &GPIO_InitStruct);

  /*Configure GPIO pin : PA15 */
  GPIO_InitStruct.Pin = GPIO_PIN_15;
  GPIO_InitStruct.Mode = GPIO_MODE_AF_PP;
  GPIO_InitStruct.Pull = GPIO_NOPULL;
  GPIO_InitStruct.Speed = GPIO_SPEED_FREQ_LOW;
  GPIO_InitStruct.Alternate = GPIO_AF1_TIM2;
  HAL_GPIO_Init(GPIOA, &GPIO_InitStruct);

  /*Configure GPIO pin : DRV1_PH_Pin */
  GPIO_InitStruct.Pin = DRV1_PH_Pin;
  GPIO_InitStruct.Mode = GPIO_MODE_OUTPUT_PP;
  GPIO_InitStruct.Pull = GPIO_NOPULL;
  GPIO_InitStruct.Speed = GPIO_SPEED_FREQ_LOW;
  HAL_GPIO_Init(DRV1_PH_GPIO_Port, &GPIO_InitStruct);

}

/* USER CODE BEGIN 4 */
void main_init()
{
  led_init();
  printf("main_init()\r\n");
  tim11_init();
  tim10_init();
}

void running_start()
{
  led_start();
  HAL_Delay(1000);
  led_write_rgb(0b100);
  HAL_Delay(1000);
  led_write_led(0b01, 0b01);
  HAL_Delay(1000);
  led_write_led(0b10, 0b10);
  HAL_Delay(1000);
  led_write_led(0b11, 0b00);
  led_write_rgb(0b010);

  tim11_start();
  tim10_start();
}

void running_stop()
{
  led_stop();

  tim10_stop();

  led_write_rgb(0b001);
}

void main_print_while()
{
	printf("////////////////////////////// WHILE //////////////////////////////\n\r");
  rotary_print_playmode();
	print_rotary_value();
 tim10_d_print_main();
 tim11_d_print_main();
  if(rotary_read() < 4)
  {
    led_write_led(0b11, 0b10);
  }
  else if(rotary_read() < 8)
  {
    led_write_led(0b11, 0b01);
  }
  else if(rotary_read() == 15)
  {
    led_write_led(0b11, 0b11);
  }
  else
  {
    led_write_led(0b11, 0b00);
  }
}

void main_main()
{
  main_d_print();
}

void main_d_print()
{
  tim10_d_print();
  tim11_d_print();
}

/* USER CODE END 4 */

void Error_Handler(void)
{
	__disable_irq();
	while (1) {
	}
}
